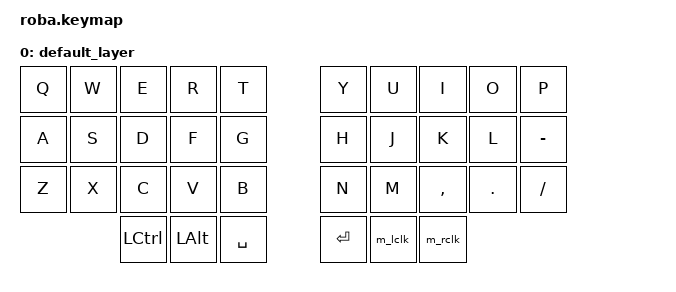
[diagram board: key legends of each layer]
#include <behaviors.dtsi>
#include <dt-bindings/zmk/keys.h>
#include <dt-bindings/zmk/pointing.h>

/ {
    /* マウスクリック動作の定義（ZMK Studioから呼び出せるようにする設定） */
    behaviors {
        m_lclk: mouse_left_click {
            compatible = "zmk,behavior-mouse-key-press";
            #binding-cells = <0>;
            usage-page = <0x09>;
            usage-id = <0x01>;
        };
        m_rclk: mouse_right_click {
            compatible = "zmk,behavior-mouse-key-press";
            #binding-cells = <0>;
            usage-page = <0x09>;
            usage-id = <0x02>;
        };
    };

    /* デフォルトのキー配列（※ZMK Studioで変更したレイヤー設定は書き込み後も維持されます） */
    keymap {
        compatible = "zmk,keymap";

        default_layer {
            bindings = <
                &kp Q  &kp W  &kp E  &kp R  &kp T         &kp Y  &kp U  &kp I      &kp O    &kp P
                &kp A  &kp S  &kp D  &kp F  &kp G         &kp H  &kp J  &kp K      &kp L    &kp MINUS
                &kp Z  &kp X  &kp C  &kp V  &kp B         &kp N  &kp M  &kp COMMA  &kp DOT  &kp SLASH
                                     &kp LCTRL &kp LALT &kp SPACE   &kp RET &m_lclk &m_rclk
            >;
        };
    };
};
